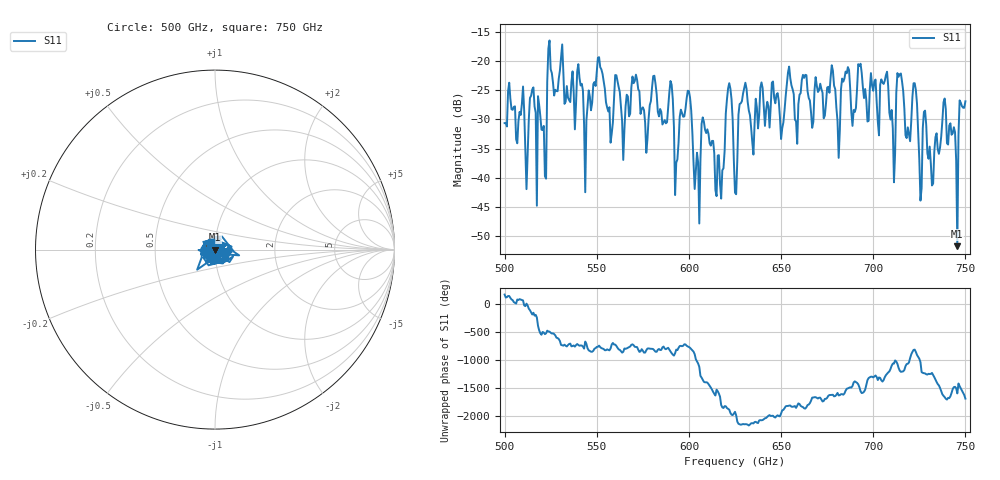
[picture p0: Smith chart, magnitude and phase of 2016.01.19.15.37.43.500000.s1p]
!Created with skrf (http://scikit-rf.org).
# GHz S RI R 50.0
!freq ReS11 ImS11
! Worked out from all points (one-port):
!   401 points, 500 GHz to 750 GHz, reference 50 ohm
!   lowest |S11| = -51.7 dB at 745.6 GHz (marker M1), VSWR 1.01, Z = 49.8 - j0.126 ohm
!   |S11| at or under -10 dB: start of sweep to end of sweep
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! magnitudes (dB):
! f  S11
! 500 GHz  -30.6
! 515 GHz  -24.9
! 521.2 GHz  -31.1
! 524.4 GHz  -16.5
! 531.2 GHz  -17.2
! 543.8 GHz  -42.5
! 551.2 GHz  -19.4
! 562.5 GHz  -25.3
! 590 GHz  -23.4
! 593.8 GHz  -36.9
! 600 GHz  -25.2
! 604.4 GHz  -35.7
! 608.1 GHz  -30.4
! 618.1 GHz  -38.7
! 621.9 GHz  -23.8
! 625 GHz  -42.6
! 630 GHz  -24.7
! 656.2 GHz  -24.8
! 687.5 GHz  -24.8
! 706.9 GHz  -22.5
! 710.6 GHz  -31.6
! 714.4 GHz  -22.3
! 718.8 GHz  -31.4
! 722.5 GHz  -23.8
! 725.6 GHz  -43.9
! 738.1 GHz  -27.1
! 745.6 GHz  -51.7
! 750 GHz  -26.9
